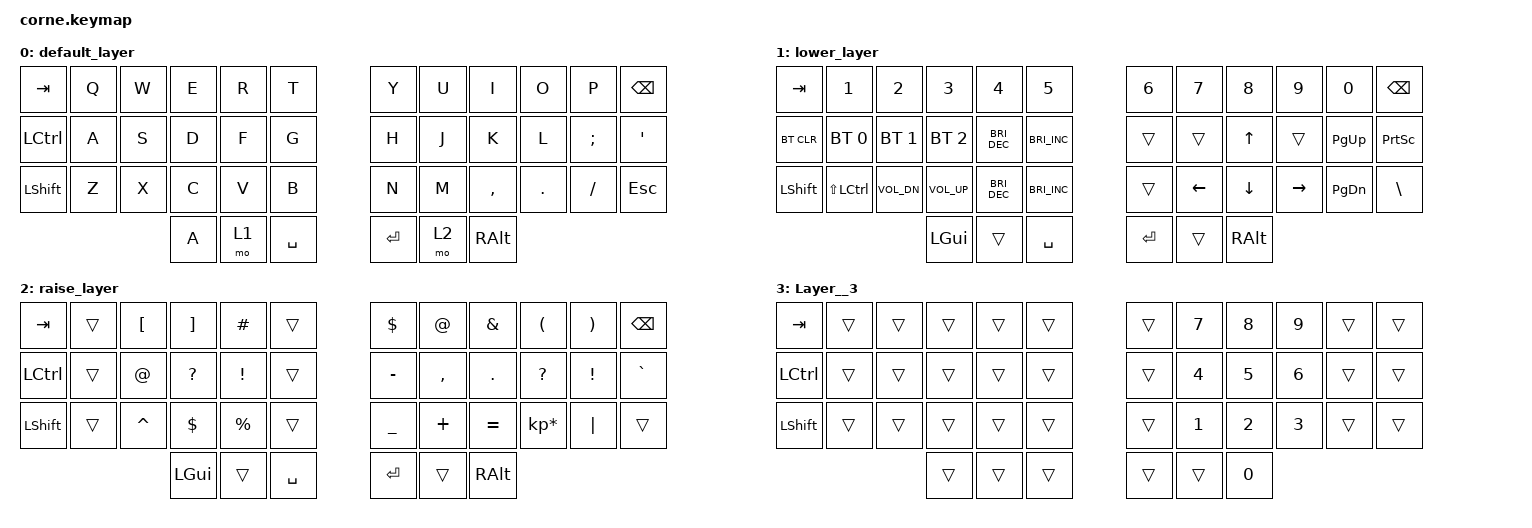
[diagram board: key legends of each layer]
/*
 * Copyright (c) 2020 The ZMK Contributors
 *
 * SPDX-License-Identifier: MIT
 */

#include <behaviors.dtsi>
#include <dt-bindings/zmk/bt.h>
#include <dt-bindings/zmk/keys.h>

/ {
    combos {
        compatible = "zmk,combos";

        delete {
            bindings = <&kp DEL>;
            key-positions = <11 10>;
        };

        lalt {
            bindings = <&kp LALT>;
            key-positions = <16 15>;
        };

        new_combo {
            bindings = <&tog 3>;
            key-positions = <37 40>;
        };
    };

    keymap {
        compatible = "zmk,keymap";

        default_layer {
            // -----------------------------------------------------------------------------------------
            // |  TAB |  Q  |  W  |  E  |  R  |  T  |   |  Y  |  U   |  I  |  O  |  P  | BKSP |
            // | CTRL |  A  |  S  |  D  |  F  |  G  |   |  H  |  J   |  K  |  L  |  ;  |  '   |
            // | SHFT |  Z  |  X  |  C  |  V  |  B  |   |  N  |  M   |  ,  |  .  |  /  | ESC  |
            //                    | GUI | LWR | SPC |   | ENT | RSE  | ALT |

            bindings = <
&kp TAB    &kp Q  &kp W  &kp E  &kp R  &kp T      &kp Y    &kp U  &kp I      &kp O    &kp P     &kp BSPC
&kp LCTRL  &kp A  &kp S  &kp D  &kp F  &kp G      &kp H    &kp J  &kp K      &kp L    &kp SEMI  &kp SQT
&kp LSHFT  &kp Z  &kp X  &kp C  &kp V  &kp B      &kp N    &kp M  &kp COMMA  &kp DOT  &kp FSLH  &kp ESC
                         &kp A  &mo 1  &kp SPACE  &kp RET  &mo 2  &kp RALT
            >;
        };

        lower_layer {
            // -----------------------------------------------------------------------------------------
            // |  TAB |  1  |  2  |  3  |  4  |  5  |   |  6  |  7  |  8  |  9  |  0  | BKSP |
            // | BTCLR| BT1 | BT2 | BT3 | BT4 | BT5 |   | LFT | DWN |  UP | RGT |     |      |
            // | SHFT |     |     |     |     |     |   |     |     |     |     |     |      |
            //                    | GUI |     | SPC |   | ENT |     | ALT |

            bindings = <
&kp TAB     &kp N1                &kp N2        &kp N3           &kp N4                &kp N5                &kp N6   &kp N7          &kp N8          &kp N9     &kp N0         &kp BSPC
&bt BT_CLR  &bt BT_SEL 0          &bt BT_SEL 1  &bt BT_SEL 2     &kp C_BRIGHTNESS_DEC  &kp C_BRIGHTNESS_INC  &trans   &trans          &kp UP_ARROW    &trans     &kp PAGE_UP    &kp PRINTSCREEN
&kp LSHFT   &kp LS(LEFT_CONTROL)  &kp C_VOL_DN  &kp C_VOLUME_UP  &kp C_BRIGHTNESS_DEC  &kp C_BRIGHTNESS_INC  &trans   &kp LEFT_ARROW  &kp DOWN_ARROW  &kp RIGHT  &kp PAGE_DOWN  &kp BACKSLASH
                                                &kp LGUI         &trans                &kp SPACE             &kp RET  &trans          &kp RALT
            >;
        };

        raise_layer {
            // -----------------------------------------------------------------------------------------
            // |  TAB |  !  |  @  |  #  |  $  |  %  |   |  ^  |  &  |  *  |  (  |  )  | BKSP |
            // | CTRL |     |     |     |     |     |   |  -  |  =  |  [  |  ]  |  \  |  `   |
            // | SHFT |     |     |     |     |     |   |  _  |  +  |  {  |  }  | "|" |  ~   |
            //                    | GUI |     | SPC |   | ENT |     | ALT |

            bindings = <
&kp TAB    &trans  &kp LEFT_BRACKET  &kp RIGHT_BRACKET  &kp HASH     &trans     &kp DOLLAR  &kp AT     &kp AMPERSAND  &kp LPAR         &kp RPAR         &kp BSPC
&kp LCTRL  &trans  &kp AT            &kp QUESTION       &kp EXCL     &trans     &kp MINUS   &kp COMMA  &kp PERIOD     &kp QUESTION     &kp EXCLAMATION  &kp GRAVE
&kp LSHFT  &trans  &kp CARET         &kp DOLLAR         &kp PERCENT  &trans     &kp UNDER   &kp PLUS   &kp EQUAL      &kp KP_MULTIPLY  &kp PIPE         &trans
                                     &kp LGUI           &trans       &kp SPACE  &kp RET     &trans     &kp RALT
            >;
        };

        Layer__3 {
            bindings = <
&kp TAB           &trans  &trans  &trans  &trans  &trans  &trans  &kp N7  &kp N8        &kp N9  &trans  &trans
&kp LEFT_CONTROL  &trans  &trans  &trans  &trans  &trans  &trans  &kp N4  &kp N5        &kp N6  &trans  &trans
&kp LEFT_SHIFT    &trans  &trans  &trans  &trans  &trans  &trans  &kp N1  &kp N2        &kp N3  &trans  &trans
                                  &trans  &trans  &trans  &trans  &trans  &kp NUMBER_0
            >;
        };
    };
};
